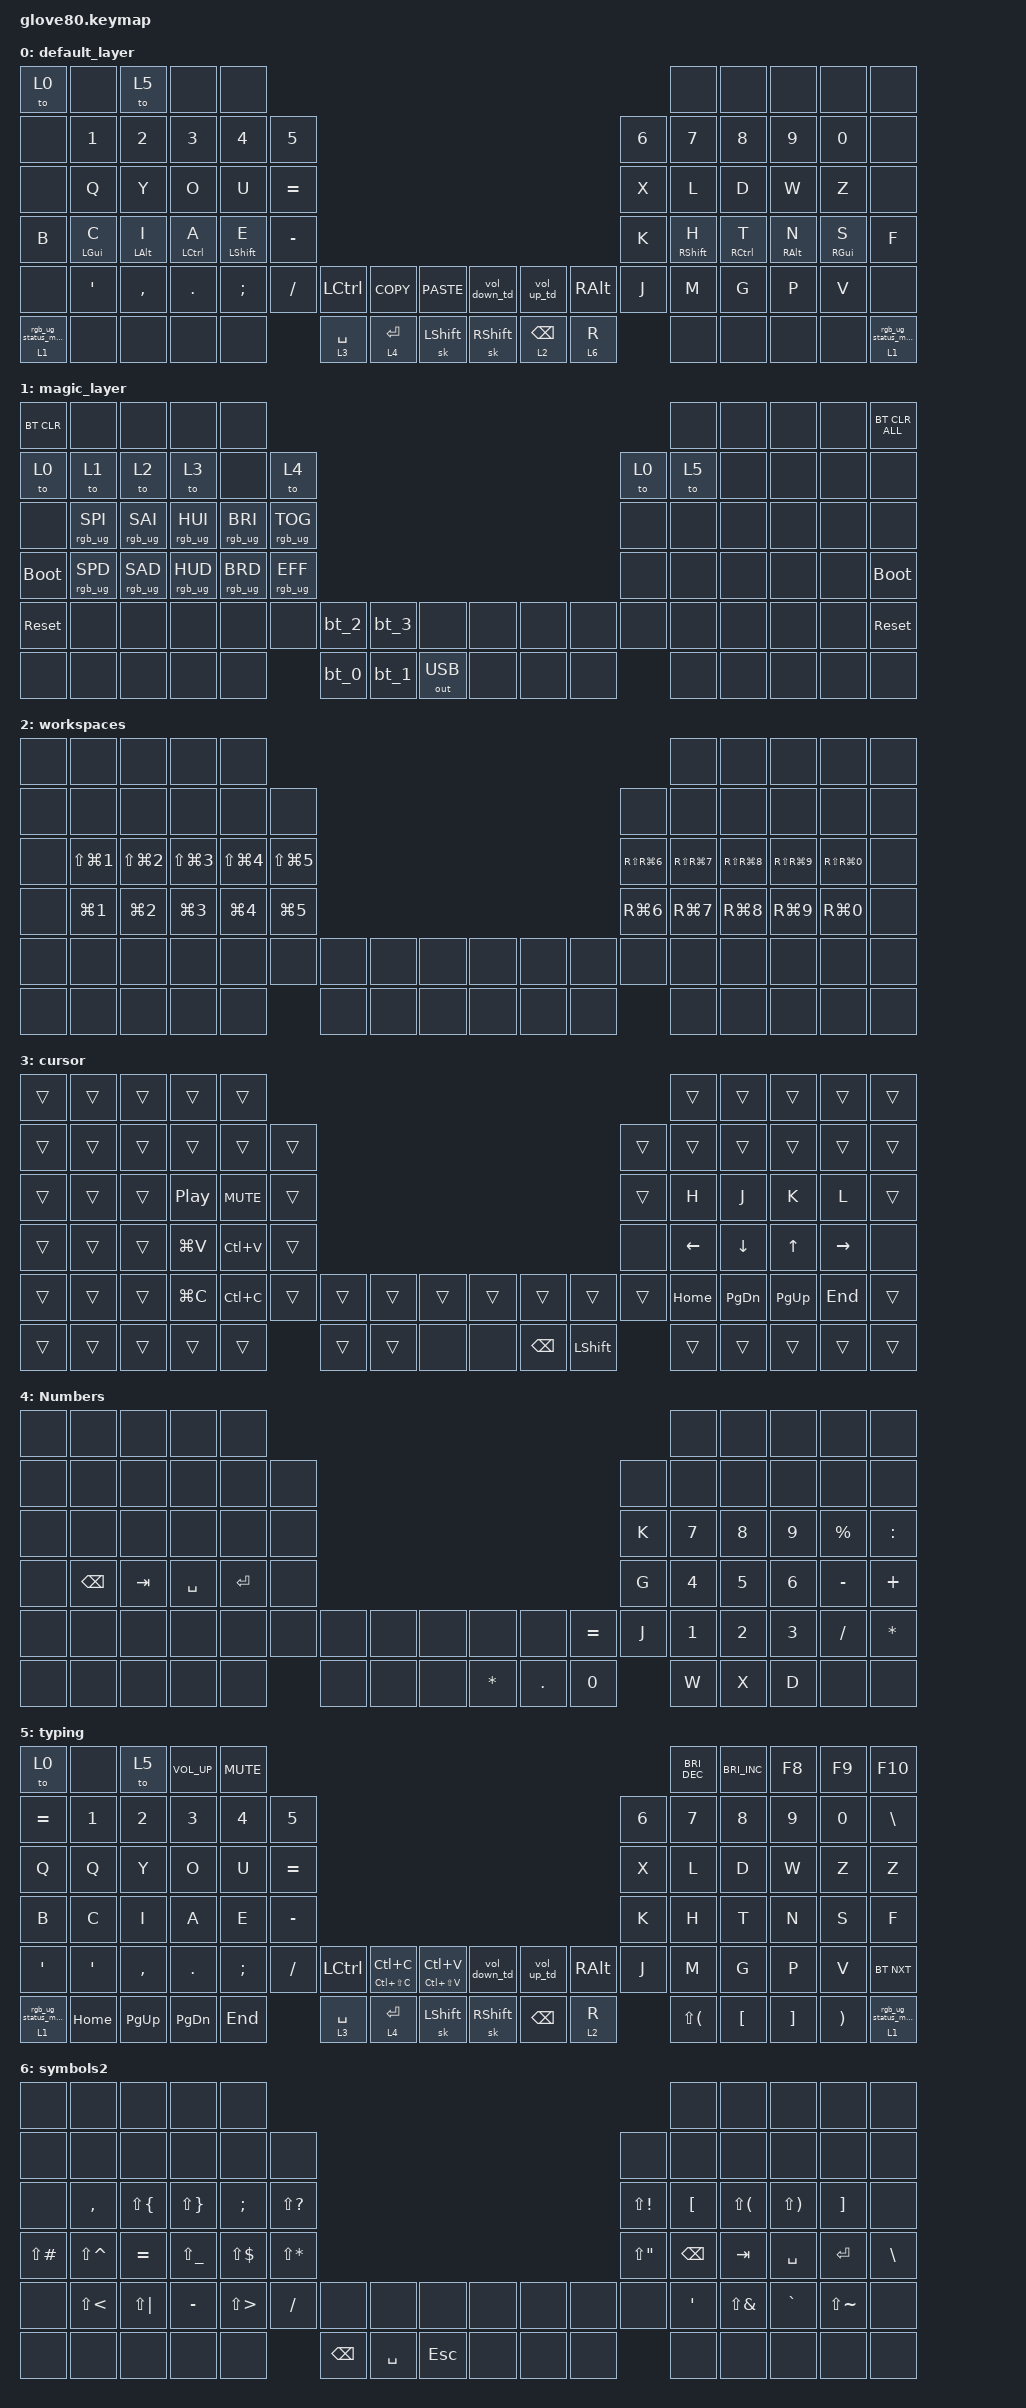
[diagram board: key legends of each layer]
/*
 * Copyright (c) 2020 The ZMK Contributors
 *
 * SPDX-License-Identifier: MIT
 */

#include <behaviors.dtsi>
#include <dt-bindings/zmk/bt.h>
#include <dt-bindings/zmk/keys.h>
#include <dt-bindings/zmk/outputs.h>
#include <dt-bindings/zmk/rgb.h>

#define HYPER LC(LS(LG(LALT)))

// layers

#define DEFAULT 0
#define LOWER 1
#define MAGIC 2
#define FACTORY_TEST 3

&caps_word {
    mods = <(MOD_LSFT)>;
    continue-list = <UNDERSCORE BACKSPACE DELETE MINUS>;
};

/ {
    behaviors {
        // For the "layer" key, it'd nice to be able to use it as either a shift or a toggle.
        // Configure it as a tap dance, so the first tap (or hold) is a &mo and the second tap is a &to

        magic: magic_hold_tap {
            compatible = "zmk,behavior-hold-tap";
            label = "MAGIC_HOLD_TAP";
            #binding-cells = <2>;
            flavor = "tap-preferred";
            tapping-term-ms = <200>;
            bindings = <&mo>, <&rgb_ug_status_macro>;
        };

        hml: hml {
            compatible = "zmk,behavior-hold-tap";
            label = "HML";
            bindings = <&kp>, <&kp>;

            #binding-cells = <2>;
            hold-trigger-key-positions = <16 17 18 19 20 21 28 29 30 31 32 33 40 41 42 43 44 45 58 59 60 61 62 52 53 54 55 56 57 69 70 71 72 73 74 75 76 77 78 79 63>;
            tapping-term-ms = <300>;
            quick-tap-ms = <200>;
            flavor = "balanced";
            require-prior-idle-ms = <150>;
            hold-trigger-on-release;
        };

        hmr: hmr {
            compatible = "zmk,behavior-hold-tap";
            label = "HMR";
            bindings = <&kp>, <&kp>;

            #binding-cells = <2>;
            tapping-term-ms = <300>;
            quick-tap-ms = <200>;
            flavor = "balanced";
            hold-trigger-key-positions = <10 11 12 13 14 15 22 23 24 25 26 27 35 36 37 38 39 47 48 49 50 51 1 2 3 4 11 12 13 14 15 23 24 25 26 27 35 36 37 38 39 47 48 49 50 51 52 53 54 55 56 57 65 66 67 68 69 70 71 72 73 74 0 1 10 11 22 23 34 35 46 47 64 65>;
            require-prior-idle-ms = <150>;
            hold-trigger-on-release;
        };

        layer_tap_cursor: layer_tap_cursor {
            compatible = "zmk,behavior-hold-tap";
            label = "LAYER_TAP_CURSOR";
            bindings = <&mo>, <&kp>;

            #binding-cells = <2>;
            tapping-term-ms = <200>;
            quick-tap-ms = <200>;
            flavor = "tap-preferred";
            hold-trigger-key-positions = <41 42 74 73 29 30 50 49>;
        };

        layer_tap_symbol: layer_tap_symbol {
            compatible = "zmk,behavior-hold-tap";
            label = "LAYER_TAP_SYMBOL";
            bindings = <&mo>, <&kp>;

            #binding-cells = <2>;
            tapping-term-ms = <200>;
            quick-tap-ms = <200>;
            flavor = "tap-preferred";
        };

        layer_tap_num: layer_tap_num {
            compatible = "zmk,behavior-hold-tap";
            label = "LAYER_TAP_NUM";
            bindings = <&mo>, <&kp>;

            #binding-cells = <2>;
            tapping-term-ms = <250>;
            quick-tap-ms = <200>;
            flavor = "tap-preferred";
            hold-trigger-key-positions = <5 6 7 8 9 16 17 18 19 20 21 28 29 30 31 32 33 40 41 42 43 44 45 55 56 57 58 59 60 61 62 63 72 73 74 75 76 77 78 79>;
        };

        layer_tap_workspaces: layer_tap_workspaces {
            compatible = "zmk,behavior-hold-tap";
            label = "LAYER_TAP_WORKSPACES";
            bindings = <&mo>, <&kp>;

            #binding-cells = <2>;
            tapping-term-ms = <200>;
            quick-tap-ms = <200>;
            flavor = "tap-preferred";
            hold-trigger-key-positions = <39 27 26 38 37 25 24 36 35 23 22 34 28 40 29 41 30 42 43 31 32 44 45 33 49 50 69 70 71>;
        };

        vol_up_td: vol_up_td {
            compatible = "zmk,behavior-tap-dance";
            label = "VOL_UP_TD";
            #binding-cells = <0>;
            bindings = <&kp C_VOLUME_UP>, <&kp C_NEXT>, <&kp C_PLAY_PAUSE>;
        };

        vol_down_td: vol_down_td {
            compatible = "zmk,behavior-tap-dance";
            label = "VOL_DOWN_TD";
            #binding-cells = <0>;
            bindings = <&kp C_VOLUME_DOWN>, <&kp C_PREVIOUS>, <&kp C_MUTE>;
        };

        hold_tap_capsword: hold_tap_capsword {
            compatible = "zmk,behavior-hold-tap";
            label = "HOLD_TAP_CAPSWORD";
            bindings = <&kp>, <&caps_word>;

            #binding-cells = <2>;
            tapping-term-ms = <200>;
        };
    };

    macros {
        rgb_ug_status_macro: rgb_ug_status_macro_0 {
            label = "RGB_UG_STATUS";
            compatible = "zmk,behavior-macro";
            #binding-cells = <0>;
            bindings = <&rgb_ug RGB_STATUS>;
        };

        bt_0: bt_profile_macro_0 {
            label = "BT_0";
            compatible = "zmk,behavior-macro";
            #binding-cells = <0>;
            bindings = <&out OUT_BLE &bt BT_SEL 0>;
        };

        bt_1: bt_profile_macro_1 {
            label = "BT_1";
            compatible = "zmk,behavior-macro";
            #binding-cells = <0>;
            bindings = <&out OUT_BLE &bt BT_SEL 1>;
        };

        bt_2: bt_profile_macro_2 {
            label = "BT_2";
            compatible = "zmk,behavior-macro";
            #binding-cells = <0>;
            bindings = <&out OUT_BLE &bt BT_SEL 2>;
        };

        bt_3: bt_profile_macro_3 {
            label = "BT_3";
            compatible = "zmk,behavior-macro";
            #binding-cells = <0>;
            bindings = <&out OUT_BLE &bt BT_SEL 3>;
        };

        dirup: dirup {
            compatible = "zmk,behavior-macro";
            #binding-cells = <0>;
            bindings = <&kp DOT &kp DOT &kp FSLH>;
            label = "DIRUP";
        };

        emailaddr: emailaddr {
            compatible = "zmk,behavior-macro";
            #binding-cells = <0>;
            bindings = <&kp W &kp E &kp S &kp T &kp O &kp N &kp DOT &kp H &kp U &kp L &kp L &kp A &kp N &kp D &kp E &kp R &kp AT &kp G &kp M &kp A &kp I &kp L &kp DOT &kp C &kp O &kp M>;
            label = "EMAILADDR";
        };
    };

    combos {
        compatible = "zmk,combos";

        capsword {
            bindings = <&caps_word>;
            key-positions = <71 72>;
        };

        esc {
            bindings = <&kp ESCAPE>;
            key-positions = <39 51>;
        };

        tab {
            bindings = <&kp TAB>;
            key-positions = <40 58>;
        };
    };

    keymap {
        compatible = "zmk,keymap";

        default_layer {
            // ---------------------------------------------------------------------------------------------------------------------------------
            // |  F1   |  F2 |  F3 |  F4  |  F5  |                                                               |  F6   |  F7   |  F8  |   F9  |  F10 |
            // |  =    |  1  |  2  |  3   |  4   |  5   |                                                 |  6   |   7   |   8   |  9   |   0   |   -  |
            // |  TAB  |  Q  |  W  |  E   |  R   |  T   |                                                 |  Y   |   U   |   I   |  O   |   P   |   \  |
            // |  ESC  |  A  |  S  |  D   |  F   |  G   |                                                 |  H   |   J   |   K   |  L   |   ;   |   '  |
            // |   `   |  Z  |  X  |  C   |  V   |  B   | LSHFT | LCTRL | LOWER | | LGUI  | RCTRL | RSHFT |  N   |   M   |   ,   |  .   |   /   | PGUP |
            // | MAGIC | HOME| END | LEFT | RIGHT|      | BSPC  | DEL   | LALT  | | RALT  | RET   | SPACE |      |  UP   | DOWN  |  [   |   ]   | PGDN |

            bindings = <
&to 0       &none            &to 5            &none         &none                                                                                                                                                                                        &none               &none         &none             &none             &none
&none       &kp NUMBER_1     &kp NUMBER_2     &kp NUMBER_3  &kp NUMBER_4       &kp NUMBER_5                                                                                                                                                &kp NUMBER_6  &kp NUMBER_7        &kp NUMBER_8  &kp NUMBER_9      &kp NUMBER_0      &none
&none       &kp Q            &kp Y            &kp O         &kp U              &kp EQUAL                                                                                                                                                   &kp X         &kp L               &kp D         &kp W             &kp Z             &none
&kp B       &hml LEFT_GUI C  &hml LEFT_ALT I  &hml LCTRL A  &hml LEFT_SHIFT E  &kp MINUS                                                                                                                                                   &kp K         &hmr RIGHT_SHIFT H  &hmr RCTRL T  &hmr RIGHT_ALT N  &hmr RIGHT_GUI S  &kp F
&none       &kp SQT          &kp COMMA        &kp DOT       &kp SEMI           &kp FSLH      &kp LCTRL                  &kp K_COPY              &kp K_PASTE     &vol_down_td     &vol_up_td                         &kp RIGHT_ALT          &kp J         &kp M               &kp G         &kp P             &kp V             &none
&magic 1 0  &none            &none            &none         &none                            &layer_tap_cursor 3 SPACE  &layer_tap_num 4 ENTER  &sk LEFT_SHIFT  &sk RIGHT_SHIFT  &layer_tap_workspaces 2 BACKSPACE  &layer_tap_symbol 6 R                &none               &none         &none             &none             &magic 1 0
            >;
        };

        magic_layer {
            bindings = <
&bt BT_CLR   &none            &none            &none            &none                                                                                     &none  &none  &none  &none  &bt BT_CLR_ALL
&to 0        &to 1            &to 2            &to 3            &none            &to 4                                                             &to 0  &to 5  &none  &none  &none  &none
&none        &rgb_ug RGB_SPI  &rgb_ug RGB_SAI  &rgb_ug RGB_HUI  &rgb_ug RGB_BRI  &rgb_ug RGB_TOG                                                   &none  &none  &none  &none  &none  &none
&bootloader  &rgb_ug RGB_SPD  &rgb_ug RGB_SAD  &rgb_ug RGB_HUD  &rgb_ug RGB_BRD  &rgb_ug RGB_EFF                                                   &none  &none  &none  &none  &none  &bootloader
&sys_reset   &none            &none            &none            &none            &none            &bt_2  &bt_3  &none         &none  &none  &none  &none  &none  &none  &none  &none  &sys_reset
&none        &none            &none            &none            &none                             &bt_0  &bt_1  &out OUT_USB  &none  &none  &none         &none  &none  &none  &none  &none
            >;
        };

        workspaces {
            bindings = <
&none  &none                 &none                 &none                 &none                                                                                                       &none                 &none                 &none                 &none                 &none
&none  &none                 &none                 &none                 &none                 &none                                                           &none                 &none                 &none                 &none                 &none                 &none
&none  &kp LS(LG(NUMBER_1))  &kp LS(LG(NUMBER_2))  &kp LS(LG(NUMBER_3))  &kp LS(LG(NUMBER_4))  &kp LS(LG(NUMBER_5))                                            &kp RS(RG(NUMBER_6))  &kp RS(RG(NUMBER_7))  &kp RS(RG(NUMBER_8))  &kp RS(RG(NUMBER_9))  &kp RS(RG(NUMBER_0))  &none
&none  &kp LG(NUMBER_1)      &kp LG(NUMBER_2)      &kp LG(NUMBER_3)      &kp LG(NUMBER_4)      &kp LG(NUMBER_5)                                                &kp RG(NUMBER_6)      &kp RG(NUMBER_7)      &kp RG(NUMBER_8)      &kp RG(NUMBER_9)      &kp RG(NUMBER_0)      &none
&none  &none                 &none                 &none                 &none                 &none                 &none  &none  &none  &none  &none  &none  &none                 &none                 &none                 &none                 &none                 &none
&none  &none                 &none                 &none                 &none                                       &none  &none  &none  &none  &none  &none                        &none                 &none                 &none                 &none                 &none
            >;
        };

        cursor {
            bindings = <
&trans  &trans  &trans  &trans            &trans                                                                                     &trans    &trans     &trans     &trans     &trans
&trans  &trans  &trans  &trans            &trans      &trans                                                                 &trans  &trans    &trans     &trans     &trans     &trans
&trans  &trans  &trans  &kp C_PLAY_PAUSE  &kp C_MUTE  &trans                                                                 &trans  &kp H     &kp J      &kp K      &kp L      &trans
&trans  &trans  &trans  &kp LG(V)         &kp LC(V)   &trans                                                                 &none   &kp LEFT  &kp DOWN   &kp UP     &kp RIGHT  &none
&trans  &trans  &trans  &kp LG(C)         &kp LC(C)   &trans  &trans  &trans  &trans  &trans  &trans         &trans          &trans  &kp HOME  &kp PG_DN  &kp PG_UP  &kp END    &trans
&trans  &trans  &trans  &trans            &trans              &trans  &trans  &none   &none   &kp BACKSPACE  &kp LEFT_SHIFT          &trans    &trans     &trans     &trans     &trans
            >;
        };

        Numbers {
            bindings = <
&none  &none          &none    &none      &none                                                                              &none   &none   &none   &none        &none
&none  &none          &none    &none      &none      &none                                                            &none  &none   &none   &none   &none        &none
&none  &none          &none    &none      &none      &none                                                            &kp K  &kp N7  &kp N8  &kp N9  &kp PERCENT  &kp COLON
&none  &kp BACKSPACE  &kp TAB  &kp SPACE  &kp ENTER  &none                                                            &kp G  &kp N4  &kp N5  &kp N6  &kp MINUS    &kp PLUS
&none  &none          &none    &none      &none      &none  &none  &none  &none  &none         &none       &kp EQUAL  &kp J  &kp N1  &kp N2  &kp N3  &kp SLASH    &kp ASTERISK
&none  &none          &none    &none      &none             &none  &none  &none  &kp ASTERISK  &kp PERIOD  &kp N0            &kp W   &kp X   &kp D   &none        &none
            >;
        };

        typing {
            bindings = <
&to 0       &none     &to 5      &kp C_VOLUME_UP  &kp C_MUTE                                                                                                                                                    &kp C_BRIGHTNESS_DEC  &kp C_BRIGHTNESS_INC  &kp F8             &kp F9                 &kp F10
&kp EQUAL   &kp N1    &kp N2     &kp N3           &kp N4      &kp N5                                                                                                                                    &kp N6  &kp N7                &kp N8                &kp N9             &kp N0                 &kp BSLH
&kp Q       &kp Q     &kp Y      &kp O            &kp U       &kp EQUAL                                                                                                                                 &kp X   &kp L                 &kp D                 &kp W              &kp Z                  &kp Z
&kp B       &kp C     &kp I      &kp A            &kp E       &kp MINUS                                                                                                                                 &kp K   &kp H                 &kp T                 &kp N              &kp S                  &kp F
&kp SQT     &kp SQT   &kp COMMA  &kp DOT          &kp SEMI    &kp FSLH   &kp LCTRL                  &mt LC(LS(C)) LC(C)     &mt LC(LS(V)) LC(V)  &vol_down_td     &vol_up_td     &kp RIGHT_ALT          &kp J   &kp M                 &kp G                 &kp P              &kp V                  &bt BT_NXT
&magic 1 0  &kp HOME  &kp PG_UP  &kp PG_DN        &kp END                &layer_tap_cursor 3 SPACE  &layer_tap_num 4 ENTER  &sk LEFT_SHIFT       &sk RIGHT_SHIFT  &kp BACKSPACE  &layer_tap_symbol 2 R          &kp LS(LPAR)          &kp LEFT_BRACKET      &kp RIGHT_BRACKET  &kp RIGHT_PARENTHESIS  &magic 1 0
            >;
        };

        symbols2 {
            bindings = <
&none          &none          &none         &none          &none                                                                                                 &none     &none         &none         &none          &none
&none          &none          &none         &none          &none         &none                                                                     &none         &none     &none         &none         &none          &none
&none          &kp COMMA      &kp LS(LBRC)  &kp LS(RBRC)   &kp SEMI      &kp LS(QMARK)                                                             &kp LS(EXCL)  &kp LBKT  &kp LS(LPAR)  &kp LS(RPAR)  &kp RBKT       &none
&kp LS(POUND)  &kp LS(CARET)  &kp EQUAL     &kp LS(UNDER)  &kp LS(DLLR)  &kp LS(STAR)                                                              &kp LS(DQT)   &kp BSPC  &kp TAB       &kp SPACE     &kp RET        &kp BSLH
&none          &kp LS(LT)     &kp LS(PIPE)  &kp MINUS      &kp LS(GT)    &kp FSLH       &none          &none      &none       &none  &none  &none  &none         &kp SQT   &kp LS(AMPS)  &kp GRAVE     &kp LS(TILDE)  &none
&none          &none          &none         &none          &none                        &kp BACKSPACE  &kp SPACE  &kp ESCAPE  &none  &none  &none                &none     &none         &none         &none          &none
            >;
        };
    };
};
